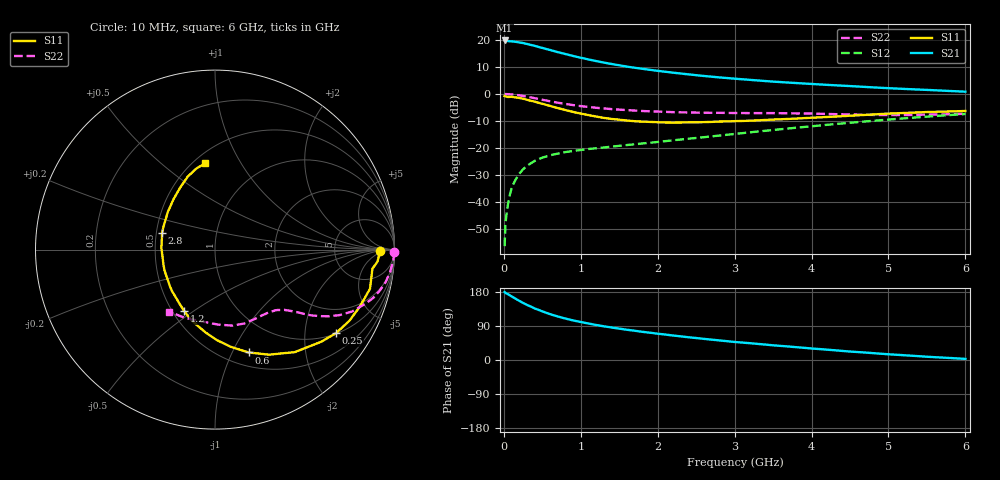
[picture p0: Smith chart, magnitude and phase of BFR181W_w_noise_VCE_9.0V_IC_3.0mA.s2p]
! (c) 2017  Infineon Technologies AG, Munich
! Infineon Technologies  Discrete & RF Semiconductors
! BFR181W
! VCE =  9.0 V,  IC =  3.0 mA
! Common Emitter S-Parameters:  Jan 2017
# GHz  S  MA  R  50
!  f  S11  S21  S12  S22
! GHz  MAG  ANG  MAG  ANG  MAG  ANG  MAG  ANG
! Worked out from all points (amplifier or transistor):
!   77 points, 10 MHz to 6 GHz, reference 50 ohm
!   highest |S21| = 19.9 dB at 10 MHz (marker M1)
!   |S21| within 3 dB of that: start of sweep to 529.4 MHz
!   unconditionally stable (mu >= 1): 1.659 GHz to 3.732 GHz
!   at 130 MHz: K = 0.10, MSG = 26.3 dB, |S12| = -33.1 dB
!   at 2.2 GHz: K = 1.09, MAG = 10.8 dB, |S12| = -17.2 dB
!   at 6 GHz: K = 0.84, MSG = 4.1 dB, |S12| = -7.4 dB
!   lowest NFmin = 0.87 dB at 450 MHz
!   S11 on the Smith chart (normalised r, x): 10 MHz: 24, -3; 250 MHz: 1.02, -2.88; 600 MHz: 0.64, -1.16; 1.2 GHz: 0.57, -0.46; 2.8 GHz: 0.54, +0.11; 6 GHz: 0.57, +0.72
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0.01  0.9196 -0.6  9.876 179.4  0.0015 86.0  0.9998 -0.7
0.02  0.9081 -4.2  9.813 177.2  0.0036 91.9  0.9997 -1.3
0.03  0.8997 -5.1  9.757 176.1  0.0052 87.3  0.9979 -2.1
0.08  0.8862 -11.3  9.547 170.4  0.0138 83.1  0.9875 -5.8
0.15  0.8667 -21.6  9.334 162.1  0.0253 78.3  0.9677 -10.8
0.25  0.8189 -34.7  8.834 150.6  0.0401 70.9  0.9215 -17.0
0.3  0.7832 -41.0  8.498 145.5  0.0463 67.4  0.8931 -19.6
0.4  0.724 -52.1  7.863 136.2  0.0573 62.7  0.838 -24.3
0.5  0.6589 -62.7  7.174 128.3  0.0659 58.7  0.7832 -27.8
0.6  0.603 -71.9  6.572 121.1  0.0729 55.4  0.7345 -30.4
0.7  0.5492 -80.7  6.002 114.9  0.0784 53.8  0.6916 -32.4
0.8  0.5043 -88.8  5.529 109.4  0.0837 52.2  0.6551 -34.1
0.9  0.4655 -96.3  5.09 104.5  0.0876 50.6  0.6238 -35.4
1.1  0.4067 -110.5  4.386 96.3  0.0953 50.4  0.5759 -37.3
1.2  0.3821 -116.9  4.094 92.4  0.0987 50.1  0.5561 -38.2
1.6  0.3226 -141.5  3.233 79.8  0.113 51.5  0.504 -41.9
2.1  0.2963 -167.9  2.591 67.1  0.1336 54.4  0.4667 -47.7
2.8  0.3088 162.8  2.037 51.7  0.1693 57.1  0.4479 -57.9
3.1  0.3165 153.3  1.88 46.0  0.188 57.4  0.4437 -62.3
4.1  0.3689 127.4  1.509 28.9  0.2601 55.5  0.4304 -78.9
5.1  0.439 109.0  1.265 13.9  0.3446 49.5  0.4071 -102.9
6  0.4842 96.3  1.106 2.9  0.4263 41.7  0.4304 -126.6
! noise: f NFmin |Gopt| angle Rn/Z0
0.45  0.87  0.47  17  0.27
0.9  0.93  0.42  32  0.26
1.9  1.34  0.24  80  0.21
2.4  1.55  0.21  94  0.23
